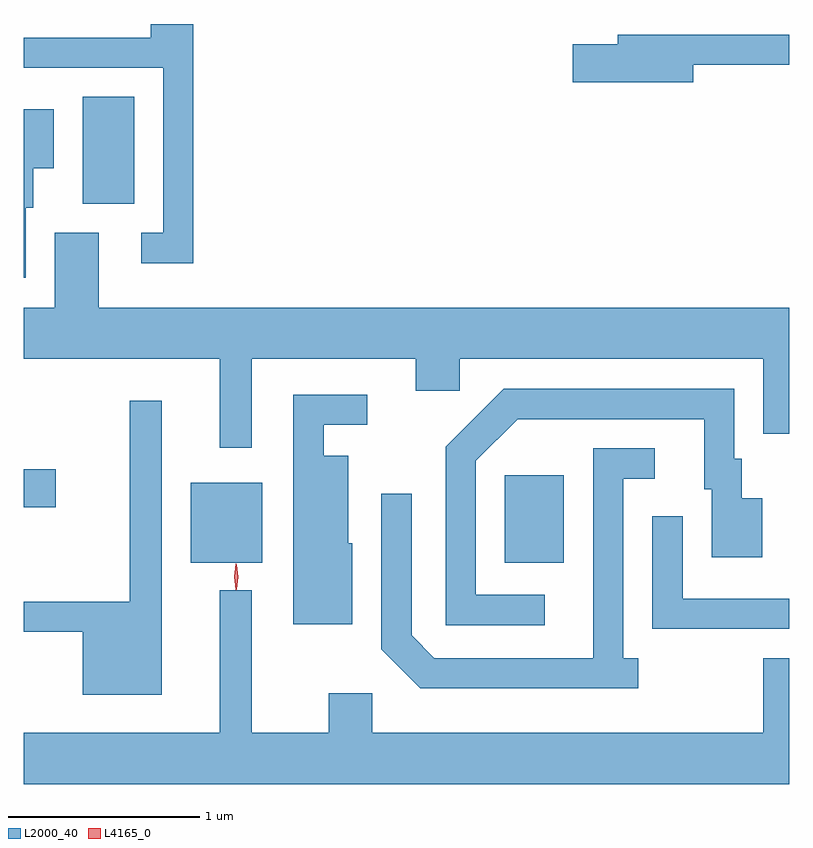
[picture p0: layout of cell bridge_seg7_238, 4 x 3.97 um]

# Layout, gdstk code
import gdstk
lib = gdstk.Library(unit=1e-6, precision=1e-09)
def R(c, l, rs):  # rectangles x0, y0, x1, y1
    for r in rs: c.add(gdstk.rectangle(r[:2], r[2:], *l))
def P(c, l, *ps):  # polygons
    for p in ps: c.add(gdstk.Polygon(p, *l))
L2000_40 = (2000, 40)
L4165_0 = (4165, 0)

bridge_seg7_238 = lib.new_cell('bridge_seg7_238')
R(bridge_seg7_238, L2000_40, [(1748.771,1711.031,1749.144,1711.449), (1750.411,1711.031,1750.719,1711.489), (1747.897,1711.321,1748.064,1711.519), (1748.206,1712.906,1748.474,1713.464)])
P(bridge_seg7_238, L2000_40, [(1748.784,1713.845),(1748.561,1713.845),(1748.561,1713.774),(1747.897,1713.774),(1747.897,1713.616),(1748.626,1713.616),(1748.626,1712.754),(1748.513,1712.754),(1748.513,1712.596),(1748.784,1712.596)],
  [(1751.394,1713.631),(1751.897,1713.631),(1751.897,1713.789),(1751.001,1713.789),(1751.001,1713.739),(1750.766,1713.739),(1750.766,1713.541),(1751.394,1713.541)],
  [(1747.909,1712.886),(1747.949,1712.886),(1747.949,1713.091),(1748.054,1713.091),(1748.054,1713.399),(1747.897,1713.399),(1747.897,1712.521),(1747.909,1712.521)],
  [(1749.089,1712.096),(1749.946,1712.096),(1749.946,1711.931),(1750.174,1711.931),(1750.174,1712.096),(1751.761,1712.096),(1751.761,1711.706),(1751.897,1711.706),(1751.897,1712.364),(1748.289,1712.364),(1748.289,1712.754),(1748.061,1712.754),(1748.061,1712.364),(1747.897,1712.364),(1747.897,1712.096),(1748.921,1712.096),(1748.921,1711.633),(1749.089,1711.633)],
  [(1750.618,1710.864),(1750.259,1710.864),(1750.259,1711.564),(1750.477,1711.781),(1751.451,1711.781),(1751.451,1711.416),(1751.491,1711.416),(1751.491,1711.061),(1751.754,1711.061),(1751.754,1711.369),(1751.649,1711.369),(1751.649,1711.574),(1751.609,1711.574),(1751.609,1711.939),(1750.404,1711.939),(1750.101,1711.637),(1750.101,1710.706),(1750.618,1710.706)],
  [(1749.614,1711.134),(1749.594,1711.134),(1749.594,1711.589),(1749.464,1711.589),(1749.464,1711.751),(1749.693,1711.751),(1749.693,1711.909),(1749.306,1711.909),(1749.306,1710.711),(1749.614,1710.711)],
  [(1748.619,1711.878),(1748.451,1711.878),(1748.451,1710.829),(1747.897,1710.829),(1747.897,1710.671),(1748.206,1710.671),(1748.206,1710.341),(1748.619,1710.341)],
  [(1751.108,1710.534),(1751.029,1710.534),(1751.029,1711.471),(1751.193,1711.471),(1751.193,1711.629),(1750.871,1711.629),(1750.871,1710.534),(1750.042,1710.534),(1749.924,1710.652),(1749.924,1711.393),(1749.766,1711.393),(1749.766,1710.579),(1749.969,1710.376),(1751.108,1710.376)],
  [(1751.897,1710.844),(1751.339,1710.844),(1751.339,1711.273),(1751.181,1711.273),(1751.181,1710.686),(1751.897,1710.686)],
  [(1751.897,1710.534),(1751.761,1710.534),(1751.761,1710.144),(1749.719,1710.144),(1749.719,1710.349),(1749.491,1710.349),(1749.491,1710.144),(1749.089,1710.144),(1749.089,1710.888),(1748.921,1710.888),(1748.921,1710.144),(1747.897,1710.144),(1747.897,1709.876),(1751.897,1709.876)])
P(bridge_seg7_238, L4165_0, [(1749.007,1710.889),(1749.006,1710.89),(1748.997,1710.958),(1749.006,1711.026),(1749.007,1711.026),(1749.007,1711.026),(1749.017,1710.958),(1749.007,1710.89)],
  [(1749.009,1710.892),(1749.009,1710.893),(1748.999,1710.957),(1749.009,1711.021),(1749.009,1711.022),(1749.01,1711.021),(1749.019,1710.957),(1749.01,1710.893)])

lib.write_gds('bridge_seg7_238.gds')
